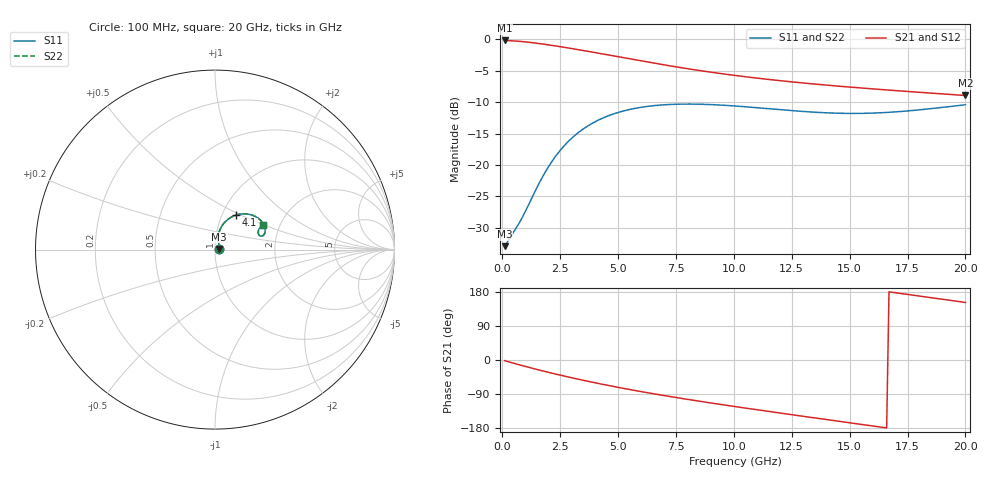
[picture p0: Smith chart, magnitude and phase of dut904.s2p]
! Touchstone file exported from HFSS 2024.1.0
!  File:  C:/UserFiles/LocalFiles/RDL_TSV_Batchsim/temp_RDL_TSV_904_1779954529.aedt
!  Generated:  04:04:26 PM May 28, 2026
!  Design:  RDL_TSV
!  Project:  temp_RDL_TSV_904_1779954529
!  Setup:  Setup1
!  Solution:  Sweep
! Variables:
!  dtsv = 11.54um
!  hbump = 3um
!  htsv = 51.3um
!  ldown = 605.82um
!  lrdl = 354.3um
!  p = 40
!  p1 = 45.16um
!  rhole = 10um
!  subl = 3234.66um
!  t = 450um
!  tdown = 2.67um
!  trdl = 2.88um
!  viad = 10um
!  wdown = 16.55um
!  wrdl = 22.97um
!  xbump = 18um
# GHz S MA R 50.000000
! Terminal data exported
! Port[1] = TM1_1_T1
! Port[2] = TM1_4_T1
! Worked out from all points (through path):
!   200 points, 100 MHz to 20 GHz, reference 50 ohm
!   highest |S21| = -0.20 dB at 100 MHz (marker M1); lowest = -8.9 dB at 20 GHz (marker M2)
!   group delay of S21, straight-line fit = 27.3 ps
!   lowest |S11| = -32.9 dB at 100 MHz (marker M3), VSWR 1.05, Z = 52.3 + j0.435 ohm
!   |S11| at or under -10 dB: start of sweep to end of sweep
!   |S22| runs from -32.9 to -10.3 dB; largest |S21 - S12| = 2.6e-14
!   S11 on the Smith chart (normalised r, x): 100 MHz: 1.05, +0.01; 4.1 GHz: 1.16, +0.47; 20 GHz: 1.64, +0.49
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0.1  0.02263 10.6  0.9774 -1.8  0.9774 -1.8  0.02263 10.6
! Gamma 0 0 0 0
! Port Impedance 50 0 50 0
0.5  0.02953 38.8  0.9693 -8.7  0.9693 -8.7  0.02953 38.8
1  0.04286 62.3  0.9518 -17.1  0.9518 -17.1  0.04285 62.3
1.6  0.07216 75.5  0.9235 -26.6  0.9235 -26.6  0.07216 75.5
2.1  0.1038 76.6  0.8961 -34.1  0.8961 -34.1  0.1038 76.6
2.4  0.1239 75.2  0.8787 -38.5  0.8787 -38.5  0.124 75.2
2.8  0.1505 72.0  0.855 -44.2  0.855 -44.2  0.1506 72.0
3.5  0.1936 65.0  0.8128 -53.6  0.8128 -53.6  0.1937 65.0
4.1  0.2251 58.6  0.777 -61.3  0.777 -61.3  0.2252 58.6
4.7  0.2509 52.5  0.7421 -68.6  0.7421 -68.6  0.251 52.5
5.3  0.2709 46.8  0.7087 -75.7  0.7087 -75.7  0.2711 46.8
6  0.2877 40.7  0.6719 -83.5  0.6719 -83.5  0.2879 40.7
6.8  0.2993 34.7  0.6334 -91.9  0.6334 -91.9  0.2996 34.7
7.6  0.3044 29.5  0.5987 -100.0  0.5987 -100.0  0.3049 29.5
8.4  0.3046 25.3  0.5679 -107.7  0.5679 -107.7  0.3051 25.2
10.1  0.2941 18.9  0.5137 -123.3  0.5137 -123.3  0.2948 18.9
11.7  0.2783 16.3  0.4743 -137.4  0.4743 -137.4  0.2792 16.2
13.4  0.2634 16.7  0.4414 -152.0  0.4414 -152.0  0.2643 16.6
15  0.257 19.5  0.4164 -165.7  0.4164 -165.7  0.258 19.2
16.7  0.2623 23.3  0.3938 179.8  0.3938 179.8  0.263 22.9
18.3  0.2778 26.0  0.375 166.2  0.375 166.2  0.2782 25.5
20  0.3012 27.0  0.3569 151.9  0.3569 151.9  0.3012 26.5
